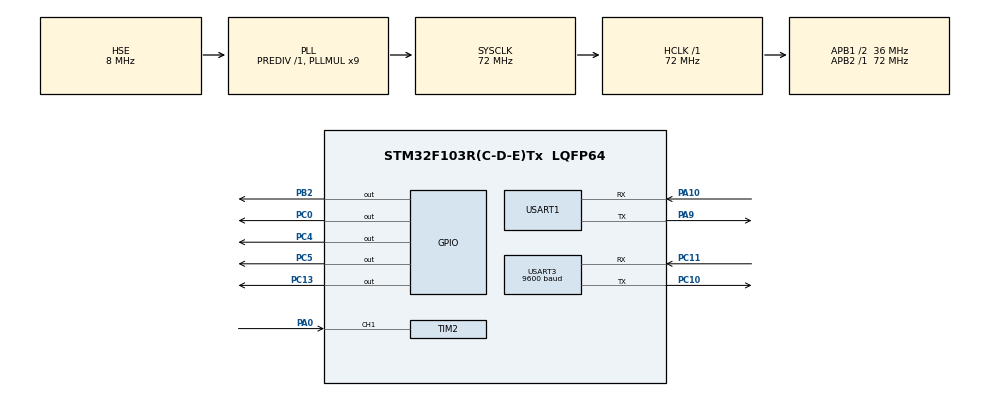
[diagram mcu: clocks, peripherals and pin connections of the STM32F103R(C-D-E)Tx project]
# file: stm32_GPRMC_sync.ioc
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Dma.Request0=USART3_TX
Dma.Request1=USART1_TX
Dma.USART1_TX.1.Direction=DMA_MEMORY_TO_PERIPH
Dma.USART1_TX.1.Instance=DMA1_Channel4
Dma.USART1_TX.1.MemDataAlignment=DMA_MDATAALIGN_BYTE
Dma.USART1_TX.1.MemInc=DMA_MINC_ENABLE
Dma.USART1_TX.1.Mode=DMA_NORMAL
Dma.USART1_TX.1.PeriphDataAlignment=DMA_PDATAALIGN_BYTE
Dma.USART1_TX.1.PeriphInc=DMA_PINC_DISABLE
Dma.USART1_TX.1.Priority=DMA_PRIORITY_LOW
Dma.USART3_TX.0.Direction=DMA_MEMORY_TO_PERIPH
Dma.USART3_TX.0.Instance=DMA1_Channel2
Dma.USART3_TX.0.MemDataAlignment=DMA_MDATAALIGN_BYTE
Dma.USART3_TX.0.MemInc=DMA_MINC_ENABLE
Dma.USART3_TX.0.Mode=DMA_NORMAL
Dma.USART3_TX.0.PeriphDataAlignment=DMA_PDATAALIGN_BYTE
Dma.USART3_TX.0.PeriphInc=DMA_PINC_DISABLE
Dma.USART3_TX.0.Priority=DMA_PRIORITY_LOW
Mcu.Family=STM32F1
Mcu.Name=STM32F103R(C-D-E)Tx
Mcu.Package=LQFP64
NVIC.DMA1_Channel2_IRQn=true\:0\:0\:false\:false\:true\:false\:true\:true
NVIC.DMA1_Channel4_IRQn=true\:0\:0\:false\:false\:true\:false\:true\:true
NVIC.PriorityGroup=NVIC_PRIORITYGROUP_4
NVIC.TIM3_IRQn=true\:0\:0\:false\:false\:true\:true\:true\:true
NVIC.USART1_IRQn=true\:0\:0\:false\:false\:true\:true\:true\:true
NVIC.USART3_IRQn=true\:0\:0\:false\:false\:true\:true\:true\:true
PA0-WKUP.Signal=S_TIM2_CH1_ETR
PA10.Mode=Asynchronous
PA10.Signal=USART1_RX
PA13.Mode=Serial_Wire
PA13.Signal=SYS_JTMS-SWDIO
PA14.Mode=Serial_Wire
PA14.Signal=SYS_JTCK-SWCLK
PA9.Mode=Asynchronous
PA9.Signal=USART1_TX
PB2.PinState=GPIO_PIN_SET
PB2.Signal=GPIO_Output
PC0.Signal=GPIO_Output
PC10.Mode=Asynchronous
PC10.Signal=USART3_TX
PC11.Mode=Asynchronous
PC11.Signal=USART3_RX
PC13-TAMPER-RTC.Signal=GPIO_Output
PC4.Signal=GPIO_Output
PC5.PinState=GPIO_PIN_SET
PC5.Signal=GPIO_Output
PD0-OSC_IN.Mode=HSE-External-Oscillator
PD0-OSC_IN.Signal=RCC_OSC_IN
PD1-OSC_OUT.Mode=HSE-External-Oscillator
PD1-OSC_OUT.Signal=RCC_OSC_OUT
ProjectManager.HeapSize=0x200
ProjectManager.StackSize=0x400
ProjectManager.TargetToolchain=Makefile
RCC.AHBFreq_Value=72000000
RCC.APB1CLKDivider=RCC_HCLK_DIV2
RCC.APB1Freq_Value=36000000
RCC.APB1TimFreq_Value=72000000
RCC.APB2Freq_Value=72000000
RCC.APB2TimFreq_Value=72000000
RCC.HCLKFreq_Value=72000000
RCC.PLLMUL=RCC_PLL_MUL9
RCC.PLLSourceVirtual=RCC_PLLSOURCE_HSE
RCC.SYSCLKFreq_VALUE=72000000
RCC.SYSCLKSource=RCC_SYSCLKSOURCE_PLLCLK
RCC.USBFreq_Value=72000000
SH.S_TIM2_CH1_ETR.0=TIM2_CH1,TriggerSource_TI1FP1
TIM2.AutoReloadPreload=TIM_AUTORELOAD_PRELOAD_DISABLE
TIM2.Period=1000
TIM2.Prescaler=72-1
TIM3.AutoReloadPreload=TIM_AUTORELOAD_PRELOAD_ENABLE
TIM3.Period=100-1
TIM3.Prescaler=7200-1
TIM4.AutoReloadPreload=TIM_AUTORELOAD_PRELOAD_ENABLE
TIM4.Period=1
TIM4.Prescaler=7200-1
USART1.VirtualMode=VM_ASYNC
USART3.BaudRate=9600
USART3.VirtualMode=VM_ASYNC
VP_TIM2_VS_ClockSourceINT.Mode=Internal
VP_TIM2_VS_ControllerModeReset.Mode=Reset Mode
VP_TIM3_VS_ClockSourceINT.Mode=Internal
VP_TIM4_VS_ClockSourceINT.Mode=Internal
board=custom

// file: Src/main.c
/* USER CODE BEGIN Header */
/**
  ******************************************************************************
  * @file           : main.c
  * @brief          : Main program body
  ******************************************************************************
  * @attention
  *
  * Copyright (c) 2024 STMicroelectronics.
  * All rights reserved.
  *
  * This software is licensed under terms that can be found in the LICENSE file
  * in the root directory of this software component.
  * If no LICENSE file comes with this software, it is provided AS-IS.
  *
  ******************************************************************************
  */
/* USER CODE END Header */
#include "main.h"
#include "dma.h"
#include "tim.h"
#include "usart.h"
#include "gpio.h"

/* USER CODE BEGIN Includes */
#include <stdio.h>
#include <stdlib.h>
#include <string.h>
#include "core_cm3.h"
/* USER CODE END Includes */

void SystemClock_Config(void);

/* USER CODE BEGIN 0 */

// 定义基准时间 2003-02-12 02:00:00
unsigned int BASE_YEAR = 2003;
unsigned int  BASE_MONTH = 2;
unsigned int  BASE_DAY = 12;
unsigned int  BASE_HOUR = 2;
unsigned int BASE_MINUTE = 0;
unsigned int  BASE_SECOND = 0;

// 定义位置
char LATITUDE[20] = "2237.8840,N"; // 22.6314°N
char LONGITUDE[20] = "11009.2400,E"; // 110.154°E

// 初始时间设置
uint32_t baseTime = 0; // 秒数

uint32_t baseTick = 0;
uint32_t elapsed = 0;

// GPS数据模拟
char gprmc_data[100];

// USART句柄声明
extern UART_HandleTypeDef huart3;
extern UART_HandleTypeDef huart1;

uint8_t uart_rx_buffer;

// 定时器句柄声明
extern TIM_HandleTypeDef htim2;
extern TIM_HandleTypeDef htim3;
extern TIM_HandleTypeDef htim4; // 100Hz -- /100: PPS ,  /10: Trigger

// 触发发送trigger的标志
volatile uint8_t trigger_flag = 0;
// 触发发送GPS数据的标志
volatile uint8_t send_gps_flag = 0;

void Error_Handler_Custom(void)
{

  while (1) {
    // 闪烁错误指示 LED
    HAL_GPIO_WritePin(GPIOC, GPIO_PIN_5, RESET);
    HAL_GPIO_WritePin(GPIOB, GPIO_PIN_2, RESET);
    for(int i = 0; i < 500; i ++);
    HAL_GPIO_WritePin(GPIOC, GPIO_PIN_5, SET);
    HAL_GPIO_WritePin(GPIOB, GPIO_PIN_2, SET);
    for(int i = 0; i < 500; i ++);
  }
}

void DWT_Init(void) {
    if (!(DWT->CTRL & DWT_CTRL_CYCCNTENA_Msk)) {
        CoreDebug->DEMCR |= CoreDebug_DEMCR_TRCENA_Msk; // 启用DWT和ITM单元
        DWT->CYCCNT = 0; // 清零计数器
        DWT->CTRL |= DWT_CTRL_CYCCNTENA_Msk; // 启用CYCCNT
    }
}
void DWT_Delay(uint32_t us) {   // 微秒级延时
    uint32_t startTick = DWT->CYCCNT;
    uint32_t delayTicks = us * (SystemCoreClock / 1000000); // 转换微秒为tick数

    while (DWT->CYCCNT - startTick < delayTicks);
}

// 校验和计算函数
uint8_t nmea_checksum(const char* sentence) {
    uint8_t checksum = 0;
    if (*sentence == '$') {
        sentence++;  // Skip '$'
    }

    while (*sentence && *sentence != '*') {
        checksum ^= *sentence++;
    }
    return checksum;
}

// GPRMC Generator
void GPRMC_Generator(uint32_t input_baseTime) {

    uint32_t culmulative_hms = 3600 * BASE_HOUR + 60 * BASE_MINUTE + BASE_SECOND;
    uint32_t currentTime = culmulative_hms + (HAL_GetTick() + elapsed) / 1000;
    uint8_t hour = (currentTime / 3600) % 24;
    uint8_t minute = (currentTime / 60) % 60;
    uint8_t second = currentTime % 60;

    memset(gprmc_data, 0, sizeof(gprmc_data));

    // sprintf(gprmc_data, "$GPRMC,020008.00,A,2237.8840,N,11009.2400,E,0.00,0.00,120203,,,A*");
    sprintf(gprmc_data, "$GPRMC,%02d%02d%02d.00,A,%s,%s,0.00,0.00,%02d%02d%02d,,,A*",
            hour, minute, second, LATITUDE, LONGITUDE, BASE_DAY, BASE_MONTH, (BASE_YEAR % 100));

    // check sum
    uint8_t checksum = nmea_checksum(gprmc_data);

    int length = strlen(gprmc_data);
    sprintf(gprmc_data + length, "%02X\r\n", checksum);

}

volatile uint8_t enable_synchrone = 1;

void TIM2_IRQHandler(void)
{
    if(__HAL_TIM_GET_FLAG(&htim2, TIM_FLAG_TRIGGER) != RESET) {
        __HAL_TIM_CLEAR_IT(&htim2, TIM_IT_TRIGGER);

        enable_synchrone = !enable_synchrone;

    }

    if (__HAL_TIM_GET_FLAG(&htim2, TIM_FLAG_UPDATE) != RESET) {
        __HAL_TIM_CLEAR_IT(&htim2, TIM_IT_UPDATE);

        if(!enable_synchrone)
        {
            HAL_GPIO_WritePin(GPIOC, GPIO_PIN_5, RESET);
            HAL_GPIO_WritePin(GPIOB, GPIO_PIN_2, SET);
        }
    }
}

volatile uint8_t trigger_led_flag = 0;
int trigger_led_count = 0;
volatile uint8_t pps_flag = 0;
int pps_count = 0;
volatile uint8_t gprmc_led_flag = 0;
int gprmc_led_count = 0;

volatile uint8_t uart_transmit_flag = 0;

void HAL_TIM_PeriodElapsedCallback(TIM_HandleTypeDef *htim)
{
    if (htim->Instance == TIM3) {

        if (trigger_led_flag) {

            trigger_led_count ++;

        }
        if (pps_flag) {

            pps_count ++;

            if (pps_count >= 2)
            {
                pps_flag = 0;
                pps_count = 0;
                HAL_GPIO_WritePin(GPIOC, GPIO_PIN_0, GPIO_PIN_RESET); // PPS LOW
            }

        }
        if (gprmc_led_flag) {

            gprmc_led_count ++;

        }
    }

}

uint32_t pps_offset = 350;
uint32_t for_delay = 0;
uint32_t trigger_rate = 10;
// uint32_t pps_offset = 390;
// uint32_t for_delay = 35;
// uint32_t pps_offset = 0;
// uint32_t for_delay = 0;
void TIM4_IRQHandler(void) {
    if (__HAL_TIM_GET_FLAG(&htim4, TIM_FLAG_UPDATE) != RESET) {
        __HAL_TIM_CLEAR_IT(&htim4, TIM_IT_UPDATE);

        static uint32_t count_trigger_rate = 0, count_pps_rate = 0;

        count_pps_rate ++;
        count_trigger_rate ++;
        if (count_trigger_rate >= 2500 / trigger_rate) {
            DWT_Delay(pps_offset);
            for(int i = 0; i < for_delay; i ++);

            HAL_GPIO_TogglePin(GPIOC, GPIO_PIN_4); // Toggle Trigger signal
            trigger_flag = 1;

            if (count_pps_rate >= 5000) {
                if(pps_flag) {
                    Error_Handler();
                }
                HAL_GPIO_WritePin(GPIOC, GPIO_PIN_0, GPIO_PIN_SET); // PPS HIGH
                send_gps_flag = 1;
                pps_flag = 1;  // Set flag to turn off PPS in ISR after 100 ms
                count_pps_rate = 0;
            }
            count_trigger_rate = 0;
        }

    }
}

void HAL_UART_TxCpltCallback(UART_HandleTypeDef *huart)
{
    if (huart->Instance == USART1 || huart->Instance == USART3)
    {
        gprmc_led_flag = 0;
    }
}

void ProcessReceivedData(uint8_t data) {
    static char buffer[1024];
    static int index = 0;

    // 接收到换行符，处理数据
    if (data == '\n' || data == '\0') {
        buffer[index] = '\0';

        // 如果第一个字符是 #
        if (buffer[0] == '#') {
            char *ptr;
            long num = strtol(buffer + 1, &ptr, 10);  // 尝试将字符串转换为长整型数字
            if (*ptr == '\0') {  // 检查转换后的剩余部分是否为空
                pps_offset = (uint32_t)num;

                char output_log[100];
                sprintf(output_log, "Set pps_offset = %ld\n", pps_offset);
                HAL_UART_Transmit(&huart1, (uint8_t *)output_log, strlen(output_log), 1000);
            } else {

                char output_log[] = "Fail to set pps_offset! Invalid input as number.\n";
                HAL_UART_Transmit(&huart1, (uint8_t *)output_log, strlen(output_log), 1000);
            }
        }
        // 如果第一个字符是 $
        else if (buffer[0] == '$') {
            if (strncmp(buffer, "$GPRMC", 6) == 0) {
                int commaCount = 0;
                for (int i = 0; buffer[i]; i++) {
                    if (buffer[i] == ',') commaCount++;
                }
                // 检查逗号数量是否符合最低要求
                if (commaCount >= 11) { // GPRMC 应该至少有 12 个字段，即至少 11 个逗号
                    // 解析 GPRMC 数据
                    char *token = strtok(buffer, ",");
                    int tokenIndex = 0;
                    while (token != NULL) {
                        token = strtok(NULL, ",");
                        tokenIndex++;

                        // 根据 GPRMC 的格式选择数据
                        switch (tokenIndex) {
                            case 1: // 时间
                                BASE_HOUR = atoi(token) / 10000;
                                BASE_MINUTE = (atoi(token) % 10000) / 100;
                                BASE_SECOND = atoi(token) % 100;
                                break;
                            case 3: // 纬度
                                strncpy(LATITUDE, token, sizeof(LATITUDE) - 1);
                                LATITUDE[sizeof(LATITUDE) - 1] = '\0';  // 确保字符串以null结尾
                                break;
                            case 4: // 纬度方向
                                if (strlen(LATITUDE) + 2 < sizeof(LATITUDE)) {  // Check enough space for comma and token
                                    size_t len = strlen(LATITUDE);
                                    LATITUDE[len] = ',';           // Append comma directly
                                    LATITUDE[len + 1] = '\0';      // Null-terminate
                                    strncat(LATITUDE, token, sizeof(LATITUDE) - strlen(LATITUDE) - 1);  // Append token safely
                                }
                                break;
                            case 5: // 经度
                                strncpy(LONGITUDE, token, sizeof(LONGITUDE) - 1);
                                LONGITUDE[sizeof(LONGITUDE) - 1] = '\0';  // 确保字符串以null结尾
                                break;
                            case 6: // 经度方向
                                if (strlen(LONGITUDE) + 2 < sizeof(LONGITUDE)) {
                                    size_t len = strlen(LONGITUDE);
                                    LONGITUDE[len] = ',';          // Append comma directly
                                    LONGITUDE[len + 1] = '\0';     // Null-terminate
                                    strncat(LONGITUDE, token, sizeof(LONGITUDE) - strlen(LONGITUDE) - 1);  // Append token safely
                                }
                                break;
                            case 9: // 日期，格式为 DDMMYY
                                if (strlen(token) == 6) {
                                    char day[3], month[3], year[5];
                                    // Prepend '20' for the year
                                    strcpy(year, "20"); // Use strcpy here for clarity and safety
                                    strncat(year, token + 4, 2); // Append last two digits of the year

                                    strncpy(day, token, 2);
                                    day[2] = '\0'; // Ensure null termination
                                    strncpy(month, token + 2, 2);
                                    month[2] = '\0'; // Ensure null termination

                                    BASE_DAY = atoi(day);
                                    BASE_MONTH = atoi(month);
                                    BASE_YEAR = atoi(year);
                                }
                                break;
                        }
                    }
                    elapsed = baseTick - HAL_GetTick();

                } else {
                    char output_log[] = "Fail to set GPRMC data! Invalid GPRMC data!";
                    HAL_UART_Transmit(&huart1, (uint8_t *)output_log, strlen(output_log), 100);
                }
            }
        }

        while (__HAL_UART_GET_FLAG(&huart1, UART_FLAG_RXNE)) {
            volatile uint32_t dummy = USART1->DR; // 替换USART1为相应的USART实例
            dummy;
        }
        memset(buffer, 0, sizeof(buffer)); // 显式清空缓冲区
        index = 0; // 重置缓冲区索引

    } else {
        // 持续接收数据
        if (index < (sizeof(buffer) - 1)) {
            buffer[index++] = data;
        }
    }
}
void HAL_UART_RxCpltCallback(UART_HandleTypeDef *huart)
{
    if (huart->Instance == USART1)
    {
        ProcessReceivedData(uart_rx_buffer);
        HAL_UART_Receive_IT(huart, &uart_rx_buffer, 1);
    }
}

/* USER CODE END 0 */

int main(void)
{

  /* MCU Configuration--------------------------------------------------------*/

  /* Reset of all peripherals, Initializes the Flash interface and the Systick. */
  HAL_Init();

  /* Configure the system clock */
  SystemClock_Config();

  /* USER CODE BEGIN SysInit */
  DWT_Init();
  /* USER CODE END SysInit */

  /* Initialize all configured peripherals */
  MX_GPIO_Init();
  MX_DMA_Init();
  MX_TIM2_Init();
  MX_USART1_UART_Init();
  MX_USART3_UART_Init();
  MX_TIM3_Init();
  MX_TIM4_Init();
  /* USER CODE BEGIN 2 */

  if (HAL_TIM_Base_Start_IT(&htim3) != HAL_OK) {
    Error_Handler();
  }
  HAL_NVIC_SetPriority(TIM3_IRQn, 1, 1);
  HAL_NVIC_EnableIRQ(TIM3_IRQn);

  if (HAL_TIM_Base_Start_IT(&htim4) != HAL_OK) {
    Error_Handler();
  }
  HAL_NVIC_SetPriority(TIM4_IRQn, 0, 0);
  HAL_NVIC_EnableIRQ(TIM4_IRQn);
  baseTick = HAL_GetTick();

  if (HAL_TIM_Base_Start_IT(&htim2) != HAL_OK) {
    Error_Handler();
  }
  HAL_NVIC_SetPriority(TIM2_IRQn, 2, 2);
  HAL_NVIC_EnableIRQ(TIM2_IRQn);

  // if (HAL_TIM_Base_Start_IT(&htim5) != HAL_OK) {
  //   Error_Handler();
  // }
  // HAL_NVIC_SetPriority(TIM5_IRQn, 0, 1);
  //   HAL_NVIC_EnableIRQ(TIM5_IRQn);

  if (HAL_UART_Receive_IT(&huart1, &uart_rx_buffer, 1) != HAL_OK) {
      Error_Handler();
  }

  while (1) {

      while(enable_synchrone) {

          if (trigger_led_flag && trigger_led_count >= 3)
          {
              trigger_led_flag = 0;
              trigger_led_count = 0;
              HAL_GPIO_WritePin(GPIOB, GPIO_PIN_2, GPIO_PIN_SET); // Trigger LED OFF
          }

          if (!gprmc_led_flag && gprmc_led_count >= 5)
          {
              gprmc_led_count = 0;
              HAL_GPIO_WritePin(GPIOC, GPIO_PIN_5, GPIO_PIN_SET); // LED GPRMC Sending OFF
          }

          if (trigger_flag) {

              trigger_flag = 0;

              // 点亮PB2表示触发信号已发送
              HAL_GPIO_WritePin(GPIOB, GPIO_PIN_2, GPIO_PIN_RESET); // Trigger LED
              trigger_led_flag = 1;

          }

          if (send_gps_flag) {

              send_gps_flag = 0;

              HAL_GPIO_WritePin(GPIOC, GPIO_PIN_5, GPIO_PIN_RESET); // LED GPRMC Sending ON
              gprmc_led_flag = 1;

              GPRMC_Generator(baseTime);
              HAL_UART_Transmit(&huart1, (uint8_t *)gprmc_data, strlen(gprmc_data), 6);
              // HAL_UART_Transmit_DMA(&huart1, (uint8_t *)gprmc_data, strlen(gprmc_data));
              // HAL_UART_Transmit(&huart3, (uint8_t *)gprmc_data, strlen(gprmc_data), 70);
              HAL_UART_Transmit_DMA(&huart3, (uint8_t *)gprmc_data, strlen(gprmc_data));

          }
      }
  }

  /* USER CODE END 2 */

  /* Infinite loop */
  while (1)
  {

  }
}

void SystemClock_Config(void)
{
  RCC_OscInitTypeDef RCC_OscInitStruct = {0};
  RCC_ClkInitTypeDef RCC_ClkInitStruct = {0};

  /** Initializes the RCC Oscillators according to the specified parameters
  * in the RCC_OscInitTypeDef structure.
  */
  RCC_OscInitStruct.OscillatorType = RCC_OSCILLATORTYPE_HSE;
  RCC_OscInitStruct.HSEState = RCC_HSE_ON;
  RCC_OscInitStruct.HSEPredivValue = RCC_HSE_PREDIV_DIV1;
  RCC_OscInitStruct.HSIState = RCC_HSI_ON;
  RCC_OscInitStruct.PLL.PLLState = RCC_PLL_ON;
  RCC_OscInitStruct.PLL.PLLSource = RCC_PLLSOURCE_HSE;
  RCC_OscInitStruct.PLL.PLLMUL = RCC_PLL_MUL9;
  if (HAL_RCC_OscConfig(&RCC_OscInitStruct) != HAL_OK)
  {
    Error_Handler();
  }

  /** Initializes the CPU, AHB and APB buses clocks
  */
  RCC_ClkInitStruct.ClockType = RCC_CLOCKTYPE_HCLK|RCC_CLOCKTYPE_SYSCLK
                              |RCC_CLOCKTYPE_PCLK1|RCC_CLOCKTYPE_PCLK2;
  RCC_ClkInitStruct.SYSCLKSource = RCC_SYSCLKSOURCE_PLLCLK;
  RCC_ClkInitStruct.AHBCLKDivider = RCC_SYSCLK_DIV1;
  RCC_ClkInitStruct.APB1CLKDivider = RCC_HCLK_DIV2;
  RCC_ClkInitStruct.APB2CLKDivider = RCC_HCLK_DIV1;

  if (HAL_RCC_ClockConfig(&RCC_ClkInitStruct, FLASH_LATENCY_2) != HAL_OK)
  {
    Error_Handler();
  }
}

void Error_Handler(void)
{
  /* USER CODE BEGIN Error_Handler_Debug */
  Error_Handler_Custom();
  /* User can add his own implementation to report the HAL error return state */
  __disable_irq();
  while (1)
  {
  }
  /* USER CODE END Error_Handler_Debug */
}
